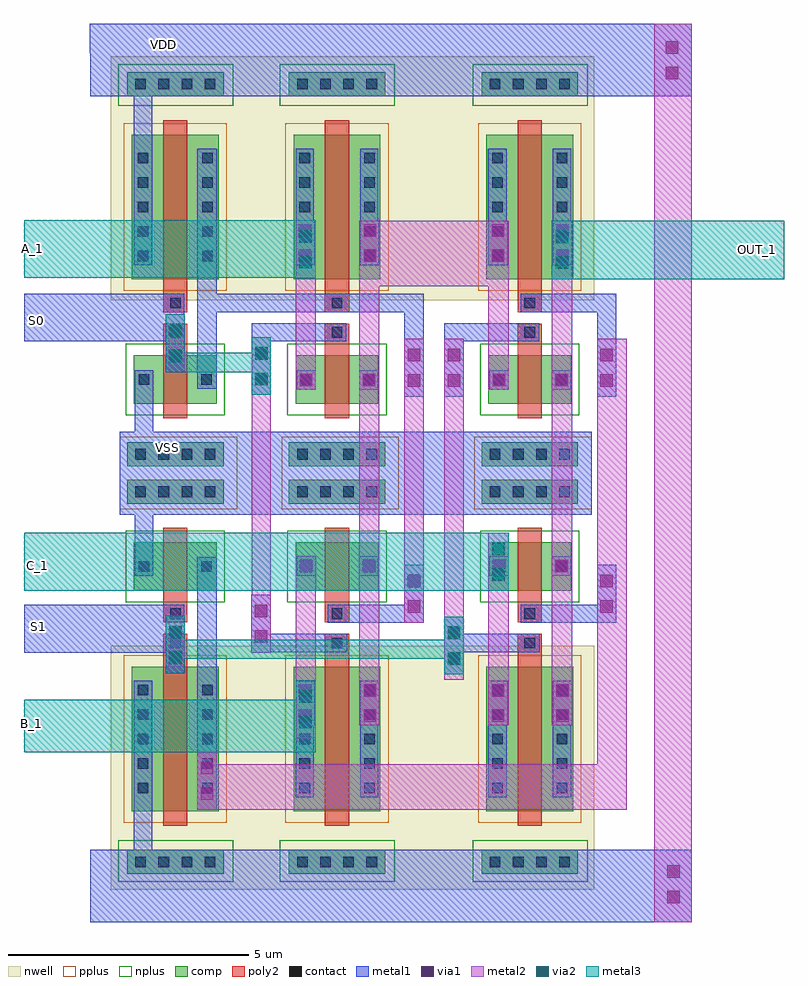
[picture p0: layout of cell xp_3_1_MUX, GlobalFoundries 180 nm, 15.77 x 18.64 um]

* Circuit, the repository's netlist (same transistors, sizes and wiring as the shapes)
* Extracted by KLayout with GF180MCU LVS runset on : 11/09/2025 00:42

.SUBCKT xp_3_1_MUX VDD B_1 C_1 OUT_1 S1 S0 VSS A_1
M$1 \$2 S1 VDD VDD pfet_03v3 L=0.5U W=3U AS=1.95P AD=1.95P PS=7.3U PD=7.3U
M$2 \$4 S0 B_1 VDD pfet_03v3 L=0.5U W=3U AS=1.95P AD=1.95P PS=7.3U PD=7.3U
M$3 OUT_1 S1 C_1 VDD pfet_03v3 L=0.5U W=3U AS=1.95P AD=1.95P PS=7.3U PD=7.3U
M$4 \$16 S0 VDD VDD pfet_03v3 L=0.5U W=3U AS=1.95P AD=1.95P PS=7.3U PD=7.3U
M$5 \$4 \$16 A_1 VDD pfet_03v3 L=0.5U W=3U AS=1.95P AD=1.95P PS=7.3U PD=7.3U
M$6 OUT_1 \$2 \$4 VDD pfet_03v3 L=0.5U W=3U AS=1.95P AD=1.95P PS=7.3U PD=7.3U
M$7 \$2 S1 VSS VSS nfet_03v3 L=0.5U W=1U AS=0.61P AD=0.61P PS=3.22U PD=3.22U
M$8 \$4 \$16 B_1 VSS nfet_03v3 L=0.5U W=1U AS=0.61P AD=0.61P PS=3.22U PD=3.22U
M$9 OUT_1 \$2 C_1 VSS nfet_03v3 L=0.5U W=1U AS=0.61P AD=0.61P PS=3.22U PD=3.22U
M$10 \$16 S0 VSS VSS nfet_03v3 L=0.5U W=1U AS=0.61P AD=0.61P PS=3.22U PD=3.22U
M$11 \$4 S0 A_1 VSS nfet_03v3 L=0.5U W=1U AS=0.61P AD=0.61P PS=3.22U PD=3.22U
M$12 OUT_1 S1 \$4 VSS nfet_03v3 L=0.5U W=1U AS=0.61P AD=0.61P PS=3.22U PD=3.22U
.ENDS xp_3_1_MUX

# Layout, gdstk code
from math import pi, radians
import gdstk
lib = gdstk.Library(unit=1e-6, precision=5e-09)
def R(c, l, rs):  # rectangles x0, y0, x1, y1
    for r in rs: c.add(gdstk.rectangle(r[:2], r[2:], *l))
def A(c, l, x, y, w, h, nx, ny, dx, dy):  # array of equal rectangles
    R(c, l, [(x+i*dx, y+j*dy, x+i*dx+w, y+j*dy+h) for i in range(nx) for j in range(ny)])
def P(c, l, *ps):  # polygons
    for p in ps: c.add(gdstk.Polygon(p, *l))
nwell = (21, 0)
comp = (22, 0)
poly2 = (30, 0)
pplus = (31, 0)
nplus = (32, 0)
contact = (33, 0)
metal1 = (34, 0)
via1 = (35, 0)
metal2 = (36, 0)
via2 = (38, 0)
metal3 = (42, 0)

pfet = lib.new_cell('pfet')
R(pfet, nwell, [(-0.9,-0.44,1.78,3.44)])
R(pfet, comp, [(-0.46,0,0,3), (0,0,0.88,3), (0.88,0,1.34,3)])
R(pfet, poly2, [(0.19,-0.68,0.69,-0.3), (0.19,-0.3,0.69,3.3)])
R(pfet, pplus, [(-0.63,-0.24,1.51,3.24)])
A(pfet, contact, -0.34, 0.37, 0.22, 0.22, 1, 5, 0, 0.51)
A(pfet, contact, 1, 0.37, 0.22, 0.22, 1, 5, 0, 0.51)
R(pfet, contact, [(0.33,-0.6,0.55,-0.38)])
R(pfet, metal1, [(0.25,-0.68,0.63,-0.3), (-0.42,0.29,-0.04,2.71), (0.92,0.29,1.3,2.71)])

via_dev_3 = lib.new_cell('via_dev$3')
R(via_dev_3, comp, [(0,0,2,0.5)])
A(via_dev_3, contact, 0.17, 0.14, 0.22, 0.22, 4, 1, 0.48, 0)
R(via_dev_3, metal1, [(0,0,2,0.5)])

via_dev_8 = lib.new_cell('via_dev$8')
R(via_dev_8, metal1, [(0,0,0.4,1.2)])
R(via_dev_8, via1, [(0.07,0.205,0.33,0.465), (0.07,0.735,0.33,0.995)])
R(via_dev_8, metal2, [(0,0,0.4,1.2)])

via_dev_9 = lib.new_cell('via_dev$9')
R(via_dev_9, metal1, [(0,0,0.4,1.2)])
R(via_dev_9, via1, [(0.07,0.205,0.33,0.465), (0.07,0.735,0.33,0.995)])
R(via_dev_9, metal2, [(0,0,0.4,1.2)])
R(via_dev_9, via2, [(0.07,0.205,0.33,0.465), (0.07,0.735,0.33,0.995)])
R(via_dev_9, metal3, [(0,0,0.4,1.2)])

via_dev_11 = lib.new_cell('via_dev$11')
R(via_dev_11, metal2, [(0,0,0.42,1.2)])
R(via_dev_11, via2, [(0.08,0.205,0.34,0.465), (0.08,0.735,0.34,0.995)])
R(via_dev_11, metal3, [(0,0,0.42,1.2)])

via_dev = lib.new_cell('via_dev')
R(via_dev, comp, [(0,0,2,0.5)])
A(via_dev, contact, 0.17, 0.14, 0.22, 0.22, 4, 1, 0.48, 0)
R(via_dev, metal1, [(0,0,2,0.5)])

nfet = lib.new_cell('nfet')
R(nfet, comp, [(-0.42,0,0,1), (0,0,0.88,1), (0.88,0,1.3,1)])
R(nfet, poly2, [(0.19,-0.3,0.69,1.3), (0.19,1.3,0.69,1.66)])
R(nfet, nplus, [(-0.59,-0.24,1.47,1.24)])
R(nfet, contact, [(-0.32,0.39,-0.1,0.61), (0.98,0.39,1.2,0.61), (0.33,1.37,0.55,1.59)])
R(nfet, metal1, [(-0.4,0.31,-0.02,0.69), (0.9,0.31,1.28,0.69), (0.25,1.29,0.63,1.67)])

via_dev_2 = lib.new_cell('via_dev$2')
R(via_dev_2, metal1, [(0,0,0.4,0.4)])
R(via_dev_2, via1, [(0.07,0.07,0.33,0.33)])
R(via_dev_2, metal2, [(0,0,0.4,0.4)])

nfet_1 = lib.new_cell('nfet$1')
R(nfet_1, comp, [(-0.42,0,0,1), (0,0,0.88,1), (0.88,0,1.3,1)])
R(nfet_1, poly2, [(0.19,-0.3,0.69,1.3), (0.19,1.3,0.69,1.66)])
R(nfet_1, nplus, [(-0.59,-0.24,1.47,1.24)])
R(nfet_1, contact, [(-0.32,0.39,-0.1,0.61), (0.98,0.39,1.2,0.61), (0.33,1.37,0.55,1.59)])
R(nfet_1, metal1, [(-0.4,0.31,-0.02,0.69), (0.9,0.31,1.28,0.69), (0.25,1.29,0.63,1.67)])

via_dev_4 = lib.new_cell('via_dev$4')

pfet_1 = lib.new_cell('pfet$1')
R(pfet_1, nwell, [(-0.9,-0.44,1.78,3.44)])
R(pfet_1, comp, [(-0.46,0,0,3), (0,0,0.88,3), (0.88,0,1.34,3)])
R(pfet_1, poly2, [(0.19,-0.68,0.69,-0.3), (0.19,-0.3,0.69,3.3)])
R(pfet_1, pplus, [(-0.63,-0.24,1.51,3.24)])
A(pfet_1, contact, -0.34, 0.37, 0.22, 0.22, 1, 5, 0, 0.51)
A(pfet_1, contact, 1, 0.37, 0.22, 0.22, 1, 5, 0, 0.51)
R(pfet_1, contact, [(0.33,-0.6,0.55,-0.38)])
R(pfet_1, metal1, [(0.25,-0.68,0.63,-0.3), (-0.42,0.29,-0.04,2.71), (0.92,0.29,1.3,2.71)])

via_dev_10 = lib.new_cell('via_dev$10')
R(via_dev_10, metal1, [(0,0,1.1,0.4)])
R(via_dev_10, via1, [(0.155,0.07,0.415,0.33), (0.685,0.07,0.945,0.33)])
R(via_dev_10, metal2, [(0,0,1.1,0.4)])

xp_3_1_mux = lib.new_cell('xp_3_1_MUX')
R(xp_3_1_mux, nwell, [(-3.96,-8.105,6.075,-3.04), (-3.96,-8.105,-1.28,-6.92), (-0.605,-8.105,2.075,-6.92), (3.395,-8.105,6.075,-6.92), (-3.96,4.12,6.075,9.185), (-3.96,8,-1.28,9.185), (-0.605,8,2.075,9.185), (3.395,8,6.075,9.185)])
R(xp_3_1_mux, pplus, [(-3.77,-0.21,-1.335,0.54), (-0.415,-0.21,2.02,0.54), (3.585,-0.21,6.02,0.54), (-3.77,0.54,-1.335,1.29), (-0.415,0.54,2.02,1.29), (3.585,0.54,6.02,1.29)])
R(xp_3_1_mux, nplus, [(-3.805,-7.945,-1.42,-7.08), (-0.45,-7.945,1.935,-7.08), (3.55,-7.945,5.935,-7.08), (-3.805,8.16,-1.42,9.025), (-0.45,8.16,1.935,9.025), (3.55,8.16,5.935,9.025)])
R(xp_3_1_mux, metal1, [(-3.77,-8.78,-1.42,-7.28), (-0.415,-8.78,1.935,-7.28), (3.585,-8.78,5.935,-7.28), (6.075,-8.78,8.095,-7.28), (-3.77,-7.78,-3.62,-7.28), (-3.48,-7.78,-3.1,-3.77), (-0.415,-7.78,-0.265,-7.28), (3.585,-7.78,3.735,-7.28), (-2.16,-6.19,-1.76,-1.21), (0.25,-4.29,0.275,-4.17), (1.595,-4.29,1.615,-4.17), (4.25,-4.29,4.275,-4.17), (5.595,-4.29,5.615,-4.17), (-5.76,-3.19,-2.43,-2.19), (-2.81,-3.18,-2.43,-2.19), (-3.46,-1.59,-3.08,0.4), (-3.77,-0.33,6.02,1.4), (-3.77,-0.32,-1.34,1.18), (-0.415,-0.32,2.015,1.18), (3.585,-0.32,6.015,1.18), (-3.77,-0.1,-3.62,0.4), (-3.77,-0.1,-1.34,1.4), (-0.415,-0.1,-0.265,0.4), (-0.415,-0.1,2.015,1.4), (3.585,-0.1,3.735,0.4), (3.585,-0.1,6.015,1.4), (-3.77,0.68,-3.62,1.18), (-3.46,0.68,-3.08,2.67), (-0.415,0.68,-0.265,1.18), (3.585,0.68,3.735,1.18), (-2.16,2.29,-1.76,7.27), (-5.76,3.27,-2.43,4.26), (-2.81,3.27,-2.43,4.26), (-3.48,4.85,-3.1,8.86), (0.25,5.25,0.275,5.37), (1.595,5.25,1.615,5.37), (4.25,5.25,4.275,5.37), (5.595,5.25,5.615,5.37), (-3.77,8.36,-3.62,8.86), (-3.77,8.36,-1.42,9.86), (-0.415,8.36,-0.265,8.86), (-0.415,8.36,1.935,9.86), (3.585,8.36,3.735,8.86), (3.585,8.36,5.935,9.86), (5.935,8.36,8.095,9.86)])
P(xp_3_1_mux, metal1, [(-4.39,-8.78),(-4.39,-8.07),(-4.39,-7.28),(6.075,-7.28),(6.075,-8.78)],
  [(-4.39,8.36),(-4.39,9.255),(-4.395,9.255),(-4.395,9.86),(5.935,9.86),(5.935,8.36)])
R(xp_3_1_mux, metal2, [(7.32,-8.78,8.095,9.86), (-1.76,-6.45,6.53,-5.5), (6.53,-6.45,6.75,3.325), (-0.125,-4.69,0.295,-1.19), (1.195,-4.69,1.615,-1.19), (3.875,-4.69,4.295,-1.19), (5.195,-4.69,5.615,-1.19), (1.595,-4.29,1.615,-4.17), (5.595,-4.29,5.615,-4.17), (-0.125,2.27,0.295,5.77), (1.195,2.27,1.615,5.77), (3.875,2.27,4.295,5.77), (5.195,2.27,5.615,5.77), (1.615,4.915,3.875,5.77), (1.595,5.25,1.615,5.37), (5.595,5.25,5.615,5.37)])
R(xp_3_1_mux, metal3, [(-5.76,-5.25,0.295,-4.165), (-5.76,-1.9,4.295,-0.7), (5.195,4.565,10.01,5.77), (-5.76,4.595,0.295,5.785)])
xp_3_1_mux.add(gdstk.FlexPath([(6.53,-5.975),(-2.14,-5.975)], 0.4, ends="flush", simple_path=True, layer=36, datatype=0))  # metal2
xp_3_1_mux.add(gdstk.FlexPath([(2.33,-2.565),(2.33,3.02)], 0.4, ends="flush", simple_path=True, layer=36, datatype=0))  # metal2
xp_3_1_mux.add(gdstk.FlexPath([(5.405,2.27),(5.405,-2.32)], 0.42, ends="flush", simple_path=True, layer=36, datatype=0))  # metal2
xp_3_1_mux.add(gdstk.FlexPath([(1.405,2.27),(1.405,-2.32)], 0.42, ends="flush", simple_path=True, layer=36, datatype=0))  # metal2
xp_3_1_mux.add(gdstk.FlexPath([(-0.835,-2.81),(-0.835,2.88),(-0.835,2.88)], 0.4, ends="flush", simple_path=True, layer=36, datatype=0))  # metal2
xp_3_1_mux.add(gdstk.FlexPath([(6.33,-6.085),(6.33,3.02)], 0.4, ends="flush", simple_path=True, layer=36, datatype=0))  # metal2
xp_3_1_mux.add(gdstk.FlexPath([(3.165,-3.75),(3.165,2.88)], 0.4, ends="flush", simple_path=True, layer=36, datatype=0))  # metal2
xp_3_1_mux.add(gdstk.FlexPath([(1.195,4.665),(4.295,4.665)], 0.5, ends="flush", simple_path=True, layer=36, datatype=0))  # metal2
xp_3_1_mux.add(gdstk.FlexPath([(5.195,5.155),(6.68,5.155)], 0.4, ends="flush", simple_path=True, layer=42, datatype=0))  # metal3
xp_3_1_mux.add(gdstk.FlexPath([(-2.82,-3.115),(3.36,-3.115)], 0.4, ends="flush", simple_path=True, layer=42, datatype=0))  # metal3
xp_3_1_mux.add(gdstk.FlexPath([(4.295,-1.12),(-4.835,-1.12)], 0.4, ends="flush", simple_path=True, layer=42, datatype=0))  # metal3
xp_3_1_mux.add(gdstk.FlexPath([(0.295,-4.365),(-4.64,-4.365)], 0.4, ends="flush", simple_path=True, layer=42, datatype=0))  # metal3
xp_3_1_mux.add(gdstk.FlexPath([(-2.75,2.835),(-0.635,2.835)], 0.4, ends="flush", simple_path=True, layer=42, datatype=0))  # metal3
xp_3_1_mux.add(gdstk.FlexPath([(0.255,5.23),(-4.55,5.23)], 0.4, ends="flush", simple_path=True, layer=42, datatype=0))  # metal3
xp_3_1_mux.add(gdstk.FlexPath([(0.545,-2.38),(2.53,-2.38)], 0.38, ends="flush", simple_path=True, layer=34, datatype=0))  # metal1
xp_3_1_mux.add(gdstk.FlexPath([(-1.04,-2.99),(0.945,-2.99)], 0.38, ends="flush", simple_path=True, layer=34, datatype=0))  # metal1
xp_3_1_mux.add(gdstk.FlexPath([(4.545,-2.38),(6.53,-2.38)], 0.38, ends="flush", simple_path=True, layer=34, datatype=0))  # metal1
xp_3_1_mux.add(gdstk.FlexPath([(2.96,-2.99),(4.945,-2.99)], 0.38, ends="flush", simple_path=True, layer=34, datatype=0))  # metal1
xp_3_1_mux.add(gdstk.FlexPath([(-2.43,-2.6),(-4.82,-2.6)], 0.4, ends="flush", simple_path=True, layer=34, datatype=0))  # metal1
xp_3_1_mux.add(gdstk.FlexPath([(2.965,3.46),(4.93,3.46)], 0.38, ends="flush", simple_path=True, layer=34, datatype=0))  # metal1
xp_3_1_mux.add(gdstk.FlexPath([(4.545,4.07),(6.53,4.07)], 0.38, ends="flush", simple_path=True, layer=34, datatype=0))  # metal1
xp_3_1_mux.add(gdstk.FlexPath([(-2.16,4.07),(2.53,4.07)], 0.38, ends="flush", simple_path=True, layer=34, datatype=0))  # metal1
xp_3_1_mux.add(gdstk.FlexPath([(-1.035,3.46),(0.93,3.46)], 0.38, ends="flush", simple_path=True, layer=34, datatype=0))  # metal1
xp_3_1_mux.add(gdstk.FlexPath([(2.33,2.755),(2.33,4.06)], 0.4, ends="flush", simple_path=True, layer=34, datatype=0))  # metal1
xp_3_1_mux.add(gdstk.FlexPath([(6.33,2.755),(6.33,4.06)], 0.4, ends="flush", simple_path=True, layer=34, datatype=0))  # metal1
xp_3_1_mux.add(gdstk.FlexPath([(-2.43,3.75),(-4.565,3.75)], 0.4, ends="flush", simple_path=True, layer=34, datatype=0))  # metal1
xp_3_1_mux.add(gdstk.Reference(pfet, (4.295,4.56)))
xp_3_1_mux.add(gdstk.Reference(pfet, (0.295,-3.48), x_reflection=True))
xp_3_1_mux.add(gdstk.Reference(pfet, (4.295,-3.48), x_reflection=True))
xp_3_1_mux.add(gdstk.Reference(via_dev_3, (-3.62,8.36)))
xp_3_1_mux.add(gdstk.Reference(via_dev_8, (6.13,-2.565)))
xp_3_1_mux.add(gdstk.Reference(via_dev_3, (-3.62,-7.28), x_reflection=True))
xp_3_1_mux.add(gdstk.Reference(via_dev_8, (2.13,-2.565)))
xp_3_1_mux.add(gdstk.Reference(via_dev_8, (2.13,2.125)))
xp_3_1_mux.add(gdstk.Reference(via_dev_8, (-1.04,-3.19)))
xp_3_1_mux.add(gdstk.Reference(via_dev_9, (-1.035,2.16)))
xp_3_1_mux.add(gdstk.Reference(via_dev_8, (6.13,2.125)))
xp_3_1_mux.add(gdstk.Reference(via_dev_9, (2.96,-3.64)))
xp_3_1_mux.add(gdstk.Reference(via_dev_8, (2.965,2.125)))
xp_3_1_mux.add(gdstk.Reference(via_dev_9, (-2.82,2.635)))
xp_3_1_mux.add(gdstk.Reference(via_dev_9, (-2.82,-3.62)))
xp_3_1_mux.add(gdstk.Reference(via_dev_8, (-2.16,-6.45)))
xp_3_1_mux.add(gdstk.Reference(via_dev_11, (3.875,-1.9)))
xp_3_1_mux.add(gdstk.Reference(via_dev_11, (5.195,4.57)))
xp_3_1_mux.add(gdstk.Reference(via_dev_11, (-0.125,4.585)))
xp_3_1_mux.add(gdstk.Reference(via_dev_11, (-0.125,-4.965)))
xp_3_1_mux.add(gdstk.Reference(pfet, (0.295,4.56)))
xp_3_1_mux.add(gdstk.Reference(via_dev, (-0.265,8.36)))
xp_3_1_mux.add(gdstk.Reference(via_dev, (-0.265,0.68)))
xp_3_1_mux.add(gdstk.Reference(nfet, (0.295,1.98)))
xp_3_1_mux.add(gdstk.Reference(via_dev_2, (-0.105,2.27)))
xp_3_1_mux.add(gdstk.Reference(via_dev_2, (1.195,2.27)))
xp_3_1_mux.add(gdstk.Reference(via_dev_2, (1.215,4.85)))
xp_3_1_mux.add(gdstk.Reference(via_dev_2, (1.215,5.37)))
xp_3_1_mux.add(gdstk.Reference(via_dev_2, (-0.125,4.85)))
xp_3_1_mux.add(gdstk.Reference(via_dev_2, (-0.125,5.37)))
xp_3_1_mux.add(gdstk.Reference(via_dev, (3.735,8.36)))
xp_3_1_mux.add(gdstk.Reference(via_dev, (3.735,0.68)))
xp_3_1_mux.add(gdstk.Reference(nfet, (4.295,1.98)))
xp_3_1_mux.add(gdstk.Reference(via_dev_2, (3.895,2.27)))
xp_3_1_mux.add(gdstk.Reference(via_dev_2, (5.195,2.27)))
xp_3_1_mux.add(gdstk.Reference(via_dev_2, (5.215,4.85)))
xp_3_1_mux.add(gdstk.Reference(via_dev_2, (5.215,5.37)))
xp_3_1_mux.add(gdstk.Reference(via_dev_2, (3.875,4.85)))
xp_3_1_mux.add(gdstk.Reference(via_dev_2, (3.875,5.37)))
xp_3_1_mux.add(gdstk.Reference(via_dev, (-0.265,-7.28), x_reflection=True))
xp_3_1_mux.add(gdstk.Reference(via_dev, (-0.265,0.4), x_reflection=True))
xp_3_1_mux.add(gdstk.Reference(nfet, (0.295,-0.9), x_reflection=True))
xp_3_1_mux.add(gdstk.Reference(via_dev_2, (-0.105,-1.19), x_reflection=True))
xp_3_1_mux.add(gdstk.Reference(via_dev_2, (1.195,-1.19), x_reflection=True))
xp_3_1_mux.add(gdstk.Reference(via_dev_2, (1.215,-3.77), x_reflection=True))
xp_3_1_mux.add(gdstk.Reference(via_dev_2, (1.215,-4.29), x_reflection=True))
xp_3_1_mux.add(gdstk.Reference(via_dev_2, (-0.125,-3.77), x_reflection=True))
xp_3_1_mux.add(gdstk.Reference(via_dev_2, (-0.125,-4.29), x_reflection=True))
xp_3_1_mux.add(gdstk.Reference(via_dev, (3.735,-7.28), x_reflection=True))
xp_3_1_mux.add(gdstk.Reference(via_dev, (3.735,0.4), x_reflection=True))
xp_3_1_mux.add(gdstk.Reference(nfet, (4.295,-0.9), x_reflection=True))
xp_3_1_mux.add(gdstk.Reference(via_dev_2, (3.895,-1.19), x_reflection=True))
xp_3_1_mux.add(gdstk.Reference(via_dev_2, (5.195,-1.19), x_reflection=True))
xp_3_1_mux.add(gdstk.Reference(via_dev_2, (5.215,-3.77), x_reflection=True))
xp_3_1_mux.add(gdstk.Reference(via_dev_2, (5.215,-4.29), x_reflection=True))
xp_3_1_mux.add(gdstk.Reference(via_dev_2, (3.875,-3.77), x_reflection=True))
xp_3_1_mux.add(gdstk.Reference(via_dev_2, (3.875,-4.29), x_reflection=True))
xp_3_1_mux.add(gdstk.Reference(via_dev_3, (-3.62,0.68)))
xp_3_1_mux.add(gdstk.Reference(nfet_1, (-3.06,1.98)))
xp_3_1_mux.add(gdstk.Reference(via_dev_4, (-4.42,0.09), rotation=pi/2))
xp_3_1_mux.add(gdstk.Reference(pfet_1, (-3.06,4.56)))
xp_3_1_mux.add(gdstk.Reference(via_dev_3, (-3.62,0.4), x_reflection=True))
xp_3_1_mux.add(gdstk.Reference(nfet_1, (-3.06,-0.9), x_reflection=True))
xp_3_1_mux.add(gdstk.Reference(via_dev_4, (-4.42,0.99), rotation=3*pi/2, x_reflection=True))
xp_3_1_mux.add(gdstk.Reference(pfet_1, (-3.06,-3.48), x_reflection=True))
xp_3_1_mux.add(gdstk.Reference(via_dev_10, (7.89,8.555), rotation=pi/2))
xp_3_1_mux.add(gdstk.Reference(via_dev_10, (7.915,-8.54), rotation=pi/2))
xp_3_1_mux.add(gdstk.Label('S0', (-5.5,3.71), layer=34, texttype=10))
xp_3_1_mux.add(gdstk.Label('S1', (-5.46,-2.65), layer=34, texttype=10))
xp_3_1_mux.add(gdstk.Label('VDD', (-2.87,9.435), layer=34, texttype=10))
xp_3_1_mux.add(gdstk.Label('VSS', (-2.79,1.07), layer=34, texttype=10))
xp_3_1_mux.add(gdstk.Label('OUT_1', (9.46,5.17), layer=42, texttype=10))
xp_3_1_mux.add(gdstk.Label('C_1', (-5.475,-1.375), layer=42, texttype=10))
xp_3_1_mux.add(gdstk.Label('B_1', (-5.6,-4.655), layer=42, texttype=10))
xp_3_1_mux.add(gdstk.Label('A_1', (-5.585,5.19), layer=42, texttype=10))

lib.write_gds('xp_3_1_MUX.gds')
